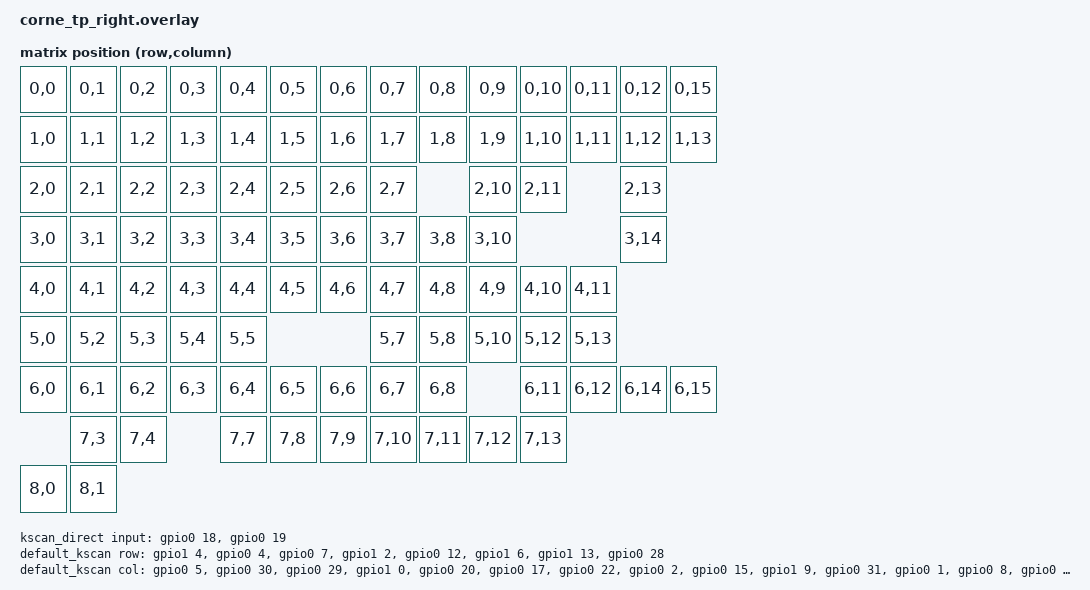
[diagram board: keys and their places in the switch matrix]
#include <dt-bindings/zmk/matrix_transform.h> // Put this with the other includes at the top of your overlay

/ {
    chosen {
        zmk,kscan = &kscan0;
        zmk,matrix_transform = &default_transform;
    };

    // --- NEW: direct-wired keys (P0.18 and P0.19 to GND, use pull-ups) ---
    kscan_direct: kscan_direct {
        compatible = "zmk,kscan-gpio-direct";
        wakeup-source;
        input-gpios =
            <&gpio0 18 (GPIO_ACTIVE_LOW | GPIO_PULL_UP)>,  // FN_KEY
            <&gpio0 19 (GPIO_ACTIVE_LOW | GPIO_PULL_UP)>;  // POWER_KEY
        debounce-press-ms = <5>;
        debounce-release-ms = <5>;
    };

    kscan0: kscan_composite {
        compatible = "zmk,kscan-composite";
        wakeup-source;

        // Keep the same 16 columns; add one more row (new row index = 8)
        rows = <9>;      // was 8
        columns = <16>;  // unchanged

        // Include the existing matrix (unchanged)
        matrix {
            kscan = <&default_kscan>;
        };

        // Place the two direct pins on the new bottom row (row 8), columns 0 and 1
        direct {
            kscan = <&kscan_direct>;
            row-offset = <8>;
            col-offset = <0>;
        };
    };


    default_kscan: kscan {
        compatible = "zmk,kscan-gpio-matrix";
        label = "default_kscan";
        diode-direction = "row2col";
        wakeup-source;

        col-gpios
            = <&gpio0 5 (GPIO_ACTIVE_HIGH | GPIO_PULL_DOWN)>   // DRV0 - P0.05
            , <&gpio0 30 (GPIO_ACTIVE_HIGH | GPIO_PULL_DOWN)>  // DRV1 - P0.30
            , <&gpio0 29 (GPIO_ACTIVE_HIGH | GPIO_PULL_DOWN)>  // DRV2 - P0.29
            , <&gpio1 0 (GPIO_ACTIVE_HIGH | GPIO_PULL_DOWN)>   // DRV3 - P1.00
            , <&gpio0 20 (GPIO_ACTIVE_HIGH | GPIO_PULL_DOWN)>  // DRV4 - P0.20
            , <&gpio0 17 (GPIO_ACTIVE_HIGH | GPIO_PULL_DOWN)>  // DRV5 - P0.17
            , <&gpio0 22 (GPIO_ACTIVE_HIGH | GPIO_PULL_DOWN)>  // DRV6 - P0.22
            , <&gpio0 2 (GPIO_ACTIVE_HIGH | GPIO_PULL_DOWN)>   // DRV7 - P0.02
            , <&gpio0 15 (GPIO_ACTIVE_HIGH | GPIO_PULL_DOWN)>  // DRV8 - P0.15
            , <&gpio1 9 (GPIO_ACTIVE_HIGH | GPIO_PULL_DOWN)>   // DRV9 - P1.09
            , <&gpio0 31 (GPIO_ACTIVE_HIGH | GPIO_PULL_DOWN)>  // DRV10 - P0.31
            , <&gpio0 1 (GPIO_ACTIVE_HIGH | GPIO_PULL_DOWN)>   // DRV11 - P0.01
            , <&gpio0 8 (GPIO_ACTIVE_HIGH | GPIO_PULL_DOWN)>   // DRV12 - P0.08
            , <&gpio0 26 (GPIO_ACTIVE_HIGH | GPIO_PULL_DOWN)>  // DRV13 - P0.26
            , <&gpio0 0 (GPIO_ACTIVE_HIGH | GPIO_PULL_DOWN)>   // DRV14 - P0.00
            , <&gpio0 6 (GPIO_ACTIVE_HIGH | GPIO_PULL_DOWN)>   // DRV15 - P0.06
            ;

        row-gpios
            = <&gpio1 4 GPIO_ACTIVE_HIGH>   // SENSE0 - P1.04
            , <&gpio0 4 GPIO_ACTIVE_HIGH>   // SENSE1 - P0.04
            , <&gpio0 7 GPIO_ACTIVE_HIGH>   // SENSE2 - P0.07
            , <&gpio1 2 GPIO_ACTIVE_HIGH>   // SENSE3 - P1.02
            , <&gpio0 12 GPIO_ACTIVE_HIGH>  // SENSE4 - P0.12
            , <&gpio1 6 GPIO_ACTIVE_HIGH>   // SENSE5 - P1.06
            , <&gpio1 13 GPIO_ACTIVE_HIGH>  // SENSE6 - P1.13
            , <&gpio0 28 GPIO_ACTIVE_HIGH>  // SENSE7 - P0.28
            ;
    };

    default_transform: keymap_transform0 {
        compatible = "zmk,matrix-transform";
        columns = <16>; // Length of the "col-gpios" array (DRV0-DRV15)
        rows = <9>; // Length of the "row-gpios" array (SENSE0-SENSE7)
        map = <
        // Row 0: Back-Tick, F1, F2, 5, 6, Equal, F8, Minus, F9, Insert, Delete, Page-Up, Home, , , Ctrl-L
            RC(0,0) RC(0,1) RC(0,2) RC(0,3) RC(0,4) RC(0,5) RC(0,6) RC(0,7) RC(0,8) RC(0,9) RC(0,10) RC(0,11) RC(0,12)                  RC(0,15)
        // Row 1: 1, 2, 3, 4, 7, 8, 9, 0, F10, F12, F11, Page-Down, End, Print-Screen, , 
            RC(1,0) RC(1,1) RC(1,2) RC(1,3) RC(1,4) RC(1,5) RC(1,6) RC(1,7) RC(1,8) RC(1,9) RC(1,10) RC(1,11) RC(1,12) RC(1,13)
        // Row 2: Q, W, E, R, U, I, O, P, , , VolumeUp, GUI, , ScrollLock, , 
            RC(2,0) RC(2,1) RC(2,2) RC(2,3) RC(2,4) RC(2,5) RC(2,6) RC(2,7)          RC(2,10) RC(2,11)    RC(2,13)
        // Row 3: Tab, CapsLock, F3, T, Y, Right-Brace, F7, Left-Brace, Back-Space, , VolumeDown, , , , Shift-L, 
            RC(3,0) RC(3,1) RC(3,2) RC(3,3) RC(3,4) RC(3,5) RC(3,6) RC(3,7) RC(3,8)    RC(3,10)              RC(3,14)
        // Row 4: A, S, D, F, J, K, L, Semi-colon, Back-Slash, Fn, Mute, Menu, , , , 
            RC(4,0) RC(4,1) RC(4,2) RC(4,3) RC(4,4) RC(4,5) RC(4,6) RC(4,7) RC(4,8) RC(4,9) RC(4,10) RC(4,11)
        // Row 5: Esc, , F4, G, H, F6, , Quote, F5, , Think-Vantage, , Arrow-Up, Alt-L, , 
            RC(5,0)    RC(5,2) RC(5,3) RC(5,4) RC(5,5)    RC(5,7) RC(5,8)    RC(5,10)    RC(5,12) RC(5,13)
        // Row 6: Z, X, C, V, M, Comma, Period, Forward-Slash, Enter, , , PageLeft, Pause, , Shift-R, Ctrl-R
            RC(6,0) RC(6,1) RC(6,2) RC(6,3) RC(6,4) RC(6,5) RC(6,6) RC(6,7) RC(6,8)       RC(6,11) RC(6,12)    RC(6,14) RC(6,15)
        // Row 7: , , , B, N, , , Forward-Slash, Space, Arrow-Right, ArrowDown, Page-Right, Arrow-Left, Alt-R, , 
                     RC(7,3) RC(7,4)       RC(7,7) RC(7,8) RC(7,9) RC(7,10) RC(7,11) RC(7,12) RC(7,13)
        // Row 8 (NEW): FN_KEY, POWER_KEY
        RC(8,0) RC(8,1)
        >;
    };
};

/* Force P0.09 high at boot to power the PS/2 device */
&gpio0 {
    ps2_vdd: ps2_vdd_hog {
        gpio-hog;
        gpios = <9 GPIO_ACTIVE_HIGH>;  /* Port 0, Pin 9 = P0.09 */
        output-high;                   /* drive high immediately at boot */
        /* no 'label' here */
    };
};

/* Use UART-based PS/2 driver (faster, recommended) */
#define MOUSE_PS2_DRIVER_UART

/* Your wiring:
 * DATA -> P1.10 (also used as UART RX)
 * CLK  -> P0.03
 */

/* GPIO pins for the PS/2 lines */
#define MOUSE_PS2_PIN_SCL_PRO_MICRO <&gpio0 3 GPIO_ACTIVE_HIGH>     /* P0.03 */
#define MOUSE_PS2_PIN_SDA_PRO_MICRO <&gpio1 10 GPIO_ACTIVE_HIGH>    /* P1.10 */
/* Map the DATA line to the nRF UART RX (port 1, pin 10) */
#define MOUSE_PS2_PIN_SDA_PINCTRL <NRF_PSEL(UART_RX, 1, 10)>
#define MOUSE_PS2_UART_BAUD_RATE <14400>

/*
 * PS/2 Mouse / Trackpoint - User Configuration if NOT using nice!nano
 *
 * WARNING: Do NOT change this if you are using a nice!nano v2 or clone.
 */

// Unexposed UART pins
// In UART two different pins are used for receiving and transmitting, but PS/2
// uses the same pin for both.
//
// The UART config still requires both pins to be configured. So we use one of
// the nrf52 pins that are not exposed on the nice!nano board.
//
// Do NOT change these if you are using a nice!nano (or a clone of it)
#define MOUSE_PS2_PIN_UNEXPOSED_TX <NRF_PSEL(UART_TX, 0, 27)>
#define MOUSE_PS2_PIN_UNEXPOSED_RX <NRF_PSEL(UART_RX, 1, 8)>


// Adjust GPIO interrupt priority to the highest level.
//
// IMPORTANT TLDR:
// If you are using the nice_nano_v2 board, you don't need to make changes to
// the config below and can leave it as it is.
//
// Explanation of these settings:
//
// PS/2 events must be processed within 30-50us, but frequently bluetooth and
// other interrupts take longer to finish.
//
// Therefore we change the default GPIO priority to the highest level (0) and
// demote all BT interrupt priorities by one level using the kconfig settings:
// - CONFIG_BT_CTLR_LLL_PRIO 1
// - CONFIG_BT_CTLR_ULL_HIGH_PRIO 2
// - CONFIG_BT_CTLR_ULL_LOW_PRIOCONFIG 2
//
// These config options are enabled automatically by the PS2 UART and GPIO
// drivers... so you don't have to enable them manually.
//
// Then we lower the interrupt priority of all other devices by 2 levels using
// the devicetree config below.
//
// This allows the PS/2 interrupts to be triggered faster and reduces
// transmission errors.
//
// If you are using the nice_nano_v2 board, you can reuse my config below.
//
// Otherwise, you can generate the interrupt overrides using this script:
// https://github.com/infused-kim/kb_zmk_ps2_mouse_trackpoint_driver/blob/main/scripts/gen_interrupt_priority_overrides.py
//
// Make sure to do it on a zephyr.dts where the interrupts have not been
// adjusted yet (i.e. a config that doesn't have the the following options
// enabled).
//
// If you are building using a toolchain you can find the zephyr.dts in the
// build directory, which by default is: `app/build/zephyr/zephyr.dts`
//
// If you are building using the github actions, copy the output of the build
// step `xxxx_right - nice_nano_v2 Devicetree file` into a file and run the
// script on it.

// gpiote should have the highest interrupt priority (0)
&gpiote {
    interrupts = < 6 0 >;
};

// All other priorities should be two levels lower than their defaults
// (which is usually 1 and should be demoted to 3)
&clock {
    interrupts = < 0 3 >;
};

&power {
    interrupts = < 0 3 >;
};

&radio {
    interrupts = < 1 3 >;
};

&uart0 {
    interrupts = < 2 3 >;
};

&i2c0 {
    interrupts = < 3 3 >;
};

&spi0 {
    interrupts = < 3 3 >;
};

&i2c1 {
    interrupts = < 4 3 >;
};

&spi1 {
    interrupts = < 4 3 >;
};

&nfct {
    interrupts = < 5 3 >;
};

&adc {
    interrupts = < 7 3 >;
};

&timer0 {
    interrupts = < 8 3 >;
};

&timer1 {
    interrupts = < 9 3 >;
};

&timer2 {
    interrupts = < 10 3 >;
};

&rtc0 {
    interrupts = < 11 3 >;
};

&temp {
    interrupts = < 12 3 >;
};

&rng {
    interrupts = < 13 3 >;
};

&ecb {
    interrupts = < 14 3 >;
};

&ccm {
    interrupts = < 15 3 >;
};

&wdt {
    interrupts = < 16 3 >;
};

&rtc1 {
    interrupts = < 17 3 >;
};

&qdec {
    interrupts = < 18 3 >;
};

&comp {
    interrupts = < 19 3 >;
};

&egu0 {
    interrupts = < 20 3 >;
};

&egu1 {
    interrupts = < 21 3 >;
};

&egu2 {
    interrupts = < 22 3 >;
};

&egu3 {
    interrupts = < 23 3 >;
};

&egu4 {
    interrupts = < 24 3 >;
};

&egu5 {
    interrupts = < 25 3 >;
};

&timer3 {
    interrupts = < 26 3 >;
};

&timer4 {
    interrupts = < 27 3 >;
};

&pwm0 {
    interrupts = < 28 3 >;
};

&pdm0 {
    interrupts = < 29 3 >;
};

&pwm1 {
    interrupts = < 33 3 >;
};

&pwm2 {
    interrupts = < 34 3 >;
};

&spi2 {
    interrupts = < 35 3 >;
};

&rtc2 {
    interrupts = < 36 3 >;
};

&i2s0 {
    interrupts = < 37 3 >;
};

&usbd {
    interrupts = < 39 3 >;
};

&uart1 {
    interrupts = < 40 3 >;
};

&qspi {
    interrupts = < 41 3 >;
};

&pwm3 {
    interrupts = < 45 3 >;
};

&spi3 {
    interrupts = < 47 3 >;
};

&cryptocell {
    interrupts = < 42 3 >;
};


/*
 * PS/2 Mouse / Trackpoint - Device Definitions
 *
 * WARNING: Do not change anything beyond here unless you know what you are
 *          doing.
 */


// Firmware with alternative pins
//
// This can safely be removed. It's only used in the example zmk-config repo
// to create an additional firmware with alternative PIN assignments.
//
// You can leave it or remove in your own zmk config. If you remove it, you
// should also remove the entry in `zmk-config-example/build.yaml` that uses
// it.
#ifdef MOUSE_PS2_ALT_PINS
    #undef MOUSE_PS2_PIN_SCL_PRO_MICRO
    #undef MOUSE_PS2_PIN_SDA_PRO_MICRO
    #undef MOUSE_PS2_PIN_SDA_PINCTRL

    #define MOUSE_PS2_PIN_SCL_PRO_MICRO <&pro_micro 1 GPIO_ACTIVE_HIGH>
    #define MOUSE_PS2_PIN_SDA_PRO_MICRO <&pro_micro 0 GPIO_ACTIVE_HIGH>
    #define MOUSE_PS2_PIN_SDA_PINCTRL <NRF_PSEL(UART_RX, 0, 8)>
#endif

// This define can be used in the keymap file to check whether the device tree
// configs in this file are present to void build errors on the side that does
// not have the mouse or TP
#define MOUSE_PS2_DT_PRESENT

&pinctrl {
	// This pinctrl state is used for receiving
	// For `UART_TX`, set an unused and unexposed pin
	// For `UART_RX`, set the PS/2 SDA pin number
	uart0_ps2_default: uart0_ps2_default {
		group1 {
			psels = MOUSE_PS2_PIN_UNEXPOSED_TX,
					MOUSE_PS2_PIN_SDA_PINCTRL;
		};
	};

	// Set this to the same pins as uart0_ps2_default
	uart0_ps2_sleep: uart0_ps2_sleep {
		group1 {
			psels = MOUSE_PS2_PIN_UNEXPOSED_TX,
					MOUSE_PS2_PIN_SDA_PINCTRL;
			low-power-enable;
		};
	};

	// The nrf52 UART controller is not compatible with the PS/2
	// transmission frame. So the PS/2 UART driver doesn't use UART for
	// transmissions and instead use GPIO bit-banging.
	//
	// When the driver switches to transmit mode, it frees up the SDA pin by
    // switching the UART controller to unexposed/unused pins.
	//
	// Then it configures the GPIO controller to use the SCL and SDA pins
	uart0_ps2_off: uart0_ps2_off {
		group1 {
			psels = MOUSE_PS2_PIN_UNEXPOSED_TX,
					MOUSE_PS2_PIN_UNEXPOSED_RX;
		};
	};
};


#ifdef MOUSE_PS2_DRIVER_UART

    &uart0 {
        status = "disabled";
        compatible = "nordic,nrf-uarte";

        current-speed = MOUSE_PS2_UART_BAUD_RATE;
        pinctrl-0 = <&uart0_ps2_default>;
        pinctrl-1 = <&uart0_ps2_off>;

        pinctrl-names = "default", "sleep";

        uart_ps2: uart_ps2 {
            status="disabled";
            compatible = "uart-ps2";
            scl-gpios = MOUSE_PS2_PIN_SCL_PRO_MICRO;
            sda-gpios = MOUSE_PS2_PIN_SDA_PRO_MICRO;
        };
    };

#else

    / {
        gpio_ps2: gpio_ps2 {
            status = "disabled";

            compatible = "gpio-ps2";
            scl-gpios = MOUSE_PS2_PIN_SCL_PRO_MICRO;
            sda-gpios = MOUSE_PS2_PIN_SDA_PRO_MICRO;
        };
    };

#endif


/ {
    mouse_ps2: mouse_ps2 {
		status = "disabled";
        compatible = "zmk,input-mouse-ps2";

#ifdef MOUSE_PS2_DRIVER_UART
	    ps2-device = <&uart_ps2>;
#else
	    ps2-device = <&gpio_ps2>;
#endif

#ifdef MOUSE_PS2_PIN_RST_PRO_MICRO
        rst-gpios = MOUSE_PS2_PIN_RST_PRO_MICRO;
#endif
    };

    mouse_ps2_input_listener: mouse_ps2_input_listener {
        compatible = "zmk,input-listener-ps2";
        status = "disabled";

        device = <&mouse_ps2>;

		// Some of the available settings depend on the keymap. So they
		// are adjusted in...
		// zmk-config/config/includes/mouse_tp.dtsi
    };
};

/* (Optional) If you have a TrackPoint reset wire, pick any spare pin:
 * #define MOUSE_PS2_PIN_RESET <&gpio0 9 GPIO_ACTIVE_HIGH>
 */

